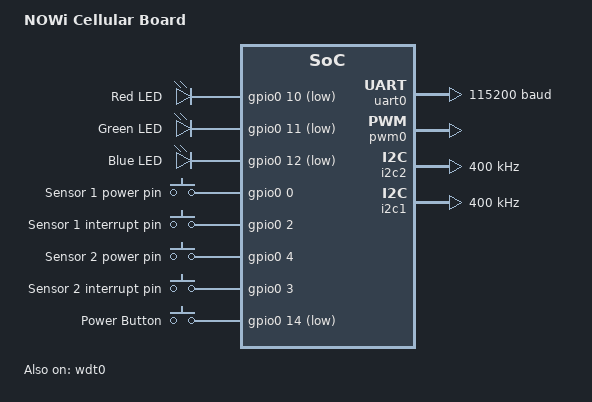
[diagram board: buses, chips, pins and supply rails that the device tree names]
/*
 * Copyright (c) 2019-2022 Actinius
 *
 * SPDX-License-Identifier: Apache-2.0
 */
#include "nowi_cellular_common-pinctrl.dtsi"

/ {
    model = "NOWi Cellular Board";
    compatible = "nowi,nowi-cellular";

    chosen {
        zephyr,console = &uart0;
        zephyr,shell-uart = &uart0;
        zephyr,uart-mcumgr = &uart0;
        nordic,modem-trace-uart = &uart0;
    };

    leds {
        compatible = "gpio-leds";

        red_led: led_0 {
            gpios = <&gpio0 10 GPIO_ACTIVE_LOW>;
            label = "Red LED";
        };

        green_led: led_1 {
            gpios = <&gpio0 11 GPIO_ACTIVE_LOW>;
            label = "Green LED";
        };

        blue_led: led_2 {
            gpios = <&gpio0 12 GPIO_ACTIVE_LOW>;
            label = "Blue LED";
        };
    };

    aliases {
        successled = &green_led;
		infoled = &blue_led;
		errorled = &red_led;
        watchdog0 = &wdt0;
        power-button = &power_button;
    };

    magnetometer {
		compatible = "gpio-keys";
		magpower: mag_power {
			gpios = <&gpio0 0 (GPIO_ACTIVE_HIGH)>;
			label = "Sensor 1 power pin";
		};
		magint: mag_int {
			gpios = <&gpio0 2 (GPIO_ACTIVE_HIGH)>;
			label = "Sensor 1 interrupt pin";
		};
        mag2power: mag2_power {
			gpios = <&gpio0 4 (GPIO_ACTIVE_HIGH)>;
			label = "Sensor 2 power pin";
		};
		mag2int: mag2_int {
			gpios = <&gpio0 3 (GPIO_ACTIVE_HIGH)>;
			label = "Sensor 2 interrupt pin";
		};
	};

    buttons {
        compatible = "gpio-keys";
        power_button: button_0 {
            gpios = <&gpio0 14 (GPIO_PULL_UP | GPIO_ACTIVE_LOW)>;
            label = "Power Button";
        };
    };
};

&gpiote {
    status = "okay";
};

&gpio0 {
    status = "okay";
};

&wdt0 {
    status = "okay";
};

&uart0 {
    status = "okay";
    current-speed = <115200>;
    pinctrl-0 = <&uart0_default>;
    pinctrl-1 = <&uart0_sleep>;
    pinctrl-names = "default", "sleep";
};

buzz_pwm_inst: &pwm0 {
	status = "okay";
	pinctrl-0 = <&pwm0_buzz_default>;
	pinctrl-1 = <&pwm0_buzz_sleep>;
	pinctrl-names = "default", "sleep";
};

mag2:&i2c2 {
    compatible = "nordic,nrf-twim";
    status = "okay";
    pinctrl-0 = <&i2c2_default>;
    pinctrl-1 = <&i2c2_sleep>;
    pinctrl-names = "default", "sleep";
    clock-frequency = <I2C_BITRATE_FAST>;
};

mag1:&i2c1 {
    compatible = "nordic,nrf-twim";
    status = "okay";
    pinctrl-0 = <&i2c1_default>;
    pinctrl-1 = <&i2c1_sleep>;
    pinctrl-names = "default", "sleep";
    clock-frequency = <I2C_BITRATE_FAST>;
};


&flash0 {
    partitions {
        compatible = "fixed-partitions";
        #address-cells = <1>;
        #size-cells = <1>;

        boot_partition: partition@0 {
            label = "mcuboot";
            reg = <0x00000000 0x10000>;
        };
        slot0_partition: partition@10000 {
            label = "image-0";
        };
        slot0_ns_partition: partition@50000 {
            label = "image-0-nonsecure";
        };
        slot1_partition: partition@80000 {
            label = "image-1";
        };
        slot1_ns_partition: partition@c0000 {
            label = "image-1-nonsecure";
        };
        scratch_partition: partition@f0000 {
            label = "image-scratch";
            reg = <0x000f0000 0xa000>;
        };
        storage_partition: partition@fa000 {
            label = "storage";
            reg = <0x000fa000 0x00006000>;
        };
    };
};

/ {
    reserved-memory {
        #address-cells = <1>;
        #size-cells = <1>;
        ranges;

        sram0_s: image_s@20000000 {
            /* Secure image memory */
        };

        sram0_modem: image_modem@20016000 {
            /* Modem (shared) memory */
        };

        sram0_ns: image_ns@20020000 {
            /* Non-Secure image memory */
        };
    };
};

/* Include partition configuration file */
#include "nowi_cellular_partition_conf.dts"
